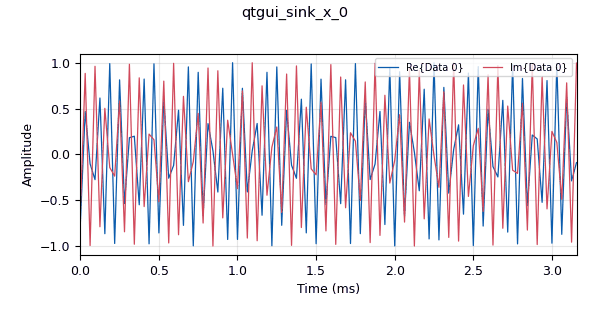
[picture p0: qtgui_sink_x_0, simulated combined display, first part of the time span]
options:
  parameters:
    author: AMP
    generate_options: qt_gui
    id: echoSim
    output_language: python
    title: echo-Sim
  states: {}

blocks:
- name: freq
  id: variable
  parameters:
    value: 49.97e6
  states: {}
- name: samp_rate
  id: variable
  parameters:
    value: '32000'
  states: {}
- name: analog_noise_source_x_0
  id: analog_noise_source_x
  parameters:
    amp: '1'
    noise_type: analog.GR_GAUSSIAN
    seed: '0'
    type: float
  states: {}
- name: analog_noise_source_x_0_0
  id: analog_noise_source_x
  parameters:
    amp: '0'
    noise_type: analog.GR_GAUSSIAN
    seed: '0'
    type: complex
  states: {}
- name: analog_sig_source_x_0
  id: analog_sig_source_x
  parameters:
    alias: Tx
    amp: '1'
    comment: Tx
    freq: freq
    offset: '0'
    phase: '0'
    samp_rate: samp_rate
    type: complex
    waveform: analog.GR_COS_WAVE
  states: {}
- name: blocks_add_xx_0
  id: blocks_add_xx
  parameters:
    type: complex
  states: {}
- name: blocks_float_to_complex_0
  id: blocks_float_to_complex
  parameters: {}
  states: {}
- name: blocks_multiply_xx_0
  id: blocks_multiply_xx
  parameters:
    type: complex
  states: {}
- name: blocks_threshold_ff_0
  id: blocks_threshold_ff
  parameters:
    high: '0.999'
    init: '0'
    low: '0.989'
  states: {}
- name: epy_block_0
  id: epy_block
  parameters:
    _source_code: |
      import numpy as np
      from gnuradio import gr

      class meteor_envelope_block(gr.sync_block):
          def __init__(self, decay_rate=0.001):
              gr.sync_block.__init__(
                  self,
                  name='Meteor Envelope',
                  in_sig=[np.float32],
                  out_sig=[np.float32]
              )
              self.decay_rate = decay_rate
              self.current_amp = 0.0

          def work(self, input_items, output_items):
              in0 = input_items[0]
              out = output_items[0]

              for i in range(len(in0)):
                  # If the trigger hits (threshold passed), reset amplitude to max
                  if in0[i] > 0:
                      self.current_amp = 1.0
                  else:
                      # Exponential decay: A = A * (1 - decay_rate)
                      self.current_amp *= (1.0 - self.decay_rate)
                  
                  out[i] = self.current_amp
                  
              return len(out)
    decay_rate: '0.0001'
  states: {}
- name: freq_xlating_fir_filter_xxx_0
  id: freq_xlating_fir_filter_xxx
  parameters:
    center_freq: '50'
    decim: '1'
    samp_rate: samp_rate
    taps: '1'
    type: ccc
  states: {}
- name: low_pass_filter_0
  id: low_pass_filter
  parameters:
    cutoff_freq: '5'
    decim: '1'
    gain: '1'
    samp_rate: samp_rate
    type: fir_filter_fff
    width: '1'
    win: window.WIN_HAMMING
  states: {state: disabled}
- name: qtgui_sink_x_0
  id: qtgui_sink_x
  parameters:
    bw: samp_rate
    comment: Rx
    fc: '0'
    fftsize: '2048'
    plotconst: 'False'
    plotfreq: 'False'
    rate: '5'
    showrf: 'True'
    type: complex
  states: {}

connections:
- [analog_noise_source_x_0, '0', blocks_threshold_ff_0, '0']
- [analog_noise_source_x_0_0, '0', blocks_add_xx_0, '1']
- [analog_sig_source_x_0, '0', blocks_multiply_xx_0, '0']
- [blocks_add_xx_0, '0', qtgui_sink_x_0, '0']
- [blocks_float_to_complex_0, '0', blocks_multiply_xx_0, '1']
- [blocks_multiply_xx_0, '0', freq_xlating_fir_filter_xxx_0, '0']
- [blocks_threshold_ff_0, '0', epy_block_0, '0']
- [epy_block_0, '0', blocks_float_to_complex_0, '0']
- [freq_xlating_fir_filter_xxx_0, '0', blocks_add_xx_0, '0']

metadata:
  file_format: 1
  grc_version: 3.10.12.0
